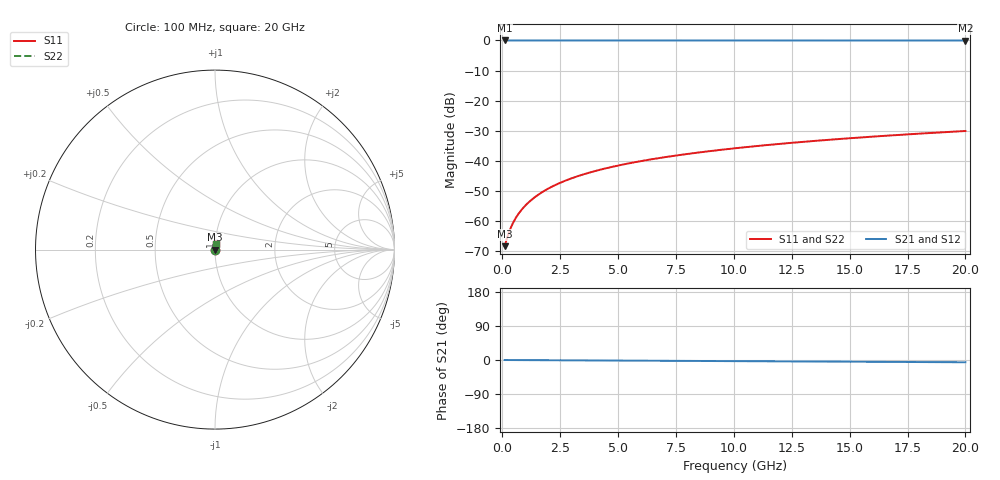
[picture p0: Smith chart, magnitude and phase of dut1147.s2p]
! Touchstone file exported from HFSS 2026.1.0
!  File:  C:/ffzhzh/LocalFiles/Ansys_Project_Files/temp_train_TSV_1147_1783191492_18472.aedt
!  Generated:  03:00:03 AM Jul  5, 2026
!  Design:  TSV
!  Project:  temp_train_TSV_1147_1783191492_18472
! Variables:
!  h_bsmrdl = 2um
!  h_ox = 20um
!  h_rdl = 5um
!  h_sub = 56.43um
!  h_tmrdl = 5um
!  h_tsv = 56.43um
!  h_via = 3um
!  l_bsmrdl = 300um
!  l_sub = 409.44um
!  l_tmrdl = 200um
!  m_sub = 200um
!  pitch = 28.65um
!  r_tsv = 4.72um
!  s_tmrdl = 10um
!  w_bsmrdl = 18um
!  w_sub = 500um
!  w_tmrdl = 12um
!  x_tsv_center1 = 206um
!  x_tsv_center2 = 524um
!  x_tsv_center3 = 736um
!  x_tsv_center4 = 1054um
!  x_tsv_center5 = 1266um
!  x_tsv_center6 = 1584um
# GHz S MA R 50.000000
! Terminal data exported
! Port[1] = TSV1_1_T1
! Port[2] = TSV1_1_T2
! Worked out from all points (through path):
!   200 points, 100 MHz to 20 GHz, reference 50 ohm
!   highest |S21| = 0.00 dB at 100 MHz (marker M1); lowest = 0.0 dB at 20 GHz (marker M2)
!   lowest |S11| = -68.4 dB at 100 MHz (marker M3), VSWR 1.00, Z = 50 + j0.0192 ohm
!   |S11| at or under -10 dB: start of sweep to end of sweep
!   |S22| runs from -68.4 to -30.1 dB; largest |S21 - S12| = 4.8e-15
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0.1  0.0003784 30.5  0.9997 -0.0  0.9997 -0.0  0.0003784 30.5
! Gamma 0 0 0 0
! Port Impedance 50 0 50 0
0.2  0.0005079 48.2  0.9997 -0.1  0.9997 -0.1  0.0005079 48.2
0.3  0.0006614 57.6  0.9996 -0.1  0.9996 -0.1  0.0006614 57.6
0.4  0.000821 63.2  0.9996 -0.1  0.9996 -0.1  0.000821 63.2
0.5  0.0009822 67.0  0.9996 -0.2  0.9996 -0.2  0.0009822 67.0
0.6  0.001144 69.8  0.9996 -0.2  0.9996 -0.2  0.001144 69.8
0.8  0.001471 73.5  0.9996 -0.2  0.9996 -0.2  0.001471 73.5
1  0.0018 75.9  0.9996 -0.3  0.9996 -0.3  0.0018 75.9
1.2  0.002131 77.6  0.9995 -0.4  0.9995 -0.4  0.002131 77.6
1.4  0.002463 78.8  0.9995 -0.4  0.9995 -0.4  0.002463 78.8
1.7  0.002961 80.1  0.9995 -0.5  0.9995 -0.5  0.002961 80.1
2.2  0.00379 81.3  0.9995 -0.7  0.9995 -0.7  0.00379 81.3
2.8  0.004777 82.0  0.9994 -0.9  0.9994 -0.9  0.004777 82.0
3.5  0.005913 82.4  0.9993 -1.1  0.9993 -1.1  0.005913 82.4
4.2  0.007034 82.6  0.9992 -1.3  0.9992 -1.3  0.007034 82.6
5  0.008299 82.7  0.9991 -1.5  0.9991 -1.5  0.008299 82.7
6.8  0.0111 82.8  0.9989 -2.1  0.9989 -2.1  0.0111 82.8
8.3  0.01341 82.8  0.9988 -2.5  0.9988 -2.5  0.01341 82.8
10.1  0.01616 82.6  0.9987 -3.0  0.9987 -3.0  0.01616 82.6
13.4  0.02119 82.2  0.9984 -4.0  0.9984 -4.0  0.02119 82.2
16.7  0.0262 81.6  0.9981 -5.0  0.9981 -5.0  0.0262 81.6
20  0.03117 80.9  0.9978 -6.0  0.9978 -6.0  0.03117 80.9
